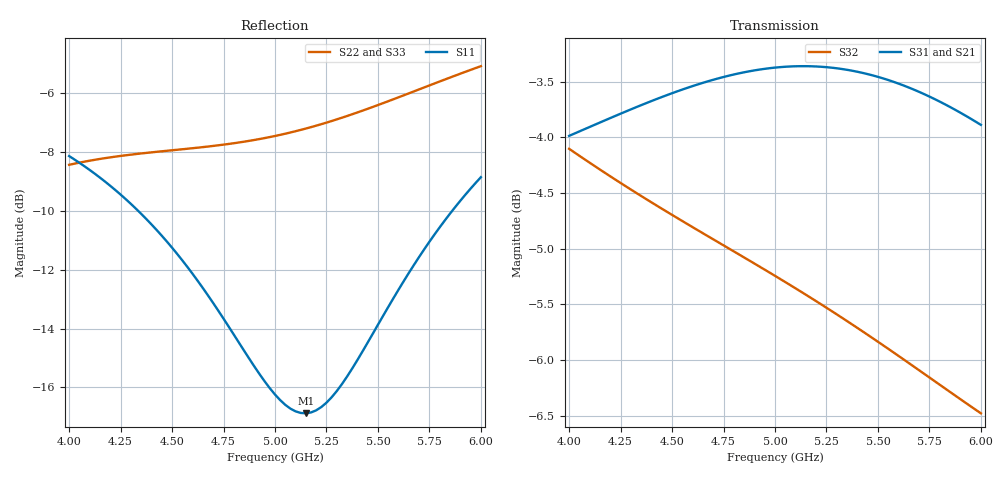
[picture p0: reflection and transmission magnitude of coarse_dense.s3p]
! yapnr rf: divider-osh-m-sched, footprint re-simulated (optimization grid)
! spec sha256 bbfd3c2c71fb105c389fb3dd58c947bd2e93bc113f0c1115e98ed0f9a4913da3
! 3 ports renormalized to 50 ohm, e^(+jwt) convention
# GHz S RI R 50
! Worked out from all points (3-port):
!   81 points, 4 GHz to 6 GHz, reference 50 ohm
!   strongest paths, dB at 4 GHz, 4.5 GHz, 5 GHz, 5.5 GHz, 6 GHz:
!     S31: -4.0, -3.6, -3.4, -3.5, -3.9
!     S21: -4.0, -3.6, -3.4, -3.5, -3.9
!     S32: -4.1, -4.7, -5.2, -5.8, -6.5
!   lowest |S11| = -16.9 dB at 5.15 GHz (marker M1), VSWR 1.33, Z = 37.7 - j2.33 ohm
!   |S11| at or under -10 dB: 4.336 GHz to 5.86 GHz (1.524 GHz wide, 29.9 % of centre)
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4  -0.3573 0.1616  -0.3325 -0.5378  -0.3325 -0.5378
   -0.3324 -0.5373  -0.1047 -0.3642  -0.2049 0.5888
   -0.3324 -0.5373  -0.2049 0.5888  -0.1047 -0.3642
4.225  -0.3065 0.1544  -0.4083 -0.5001  -0.4083 -0.5001
       -0.4081 -0.4996  -0.1636 -0.3554  -0.0598 0.6009
       -0.4081 -0.4996  -0.0598 0.6009  -0.1636 -0.3554
4.475  -0.2489 0.1294  -0.4903 -0.4413  -0.4903 -0.4413
       -0.4899 -0.4408  -0.2126 -0.3392  0.0925 0.5768
       -0.4899 -0.4408  0.0925 0.5768  -0.2126 -0.3392
4.725  -0.1964 0.0849  -0.5644 -0.3633  -0.5644 -0.3633
       -0.5639 -0.3628  -0.2484 -0.325  0.2283 0.5179
       -0.5639 -0.3628  0.2283 0.5179  -0.2484 -0.325
5  -0.1534 0.015  -0.6286 -0.2564  -0.6286 -0.2564
   -0.6279 -0.2559  -0.2813 -0.3175  0.3503 0.4198
   -0.6279 -0.2559  0.3503 0.4198  -0.2813 -0.3175
5.15  -0.14 -0.0303  -0.6526 -0.1906  -0.6526 -0.1906
      -0.6519 -0.1902  -0.3003 -0.3172  0.4018 0.355
      -0.6519 -0.1902  0.4018 0.355  -0.3003 -0.3172
5.3  -0.1351 -0.0785  -0.6675 -0.1216  -0.6675 -0.1216
     -0.6666 -0.1213  -0.3219 -0.3183  0.4415 0.2847
     -0.6666 -0.1213  0.4415 0.2847  -0.3219 -0.3183
5.55  -0.1472 -0.1596  -0.6703 -0.00481  -0.6703 -0.00481
      -0.6694 -0.00467  -0.3663 -0.3195  0.4804 0.1619
      -0.6694 -0.00467  0.4804 0.1619  -0.3663 -0.3195
5.775  -0.1787 -0.2265  -0.6504 0.0956  -0.6504 0.0956
       -0.6494 0.0956  -0.4155 -0.3144  0.4875 0.0526
       -0.6494 0.0956  0.4875 0.0526  -0.4155 -0.3144
6  -0.2258 -0.2817  -0.6126 0.1856  -0.6126 0.1856
   -0.6116 0.1855  -0.4711 -0.2982  0.4717 -0.0491
   -0.6116 0.1855  0.4717 -0.0491  -0.4711 -0.2982
